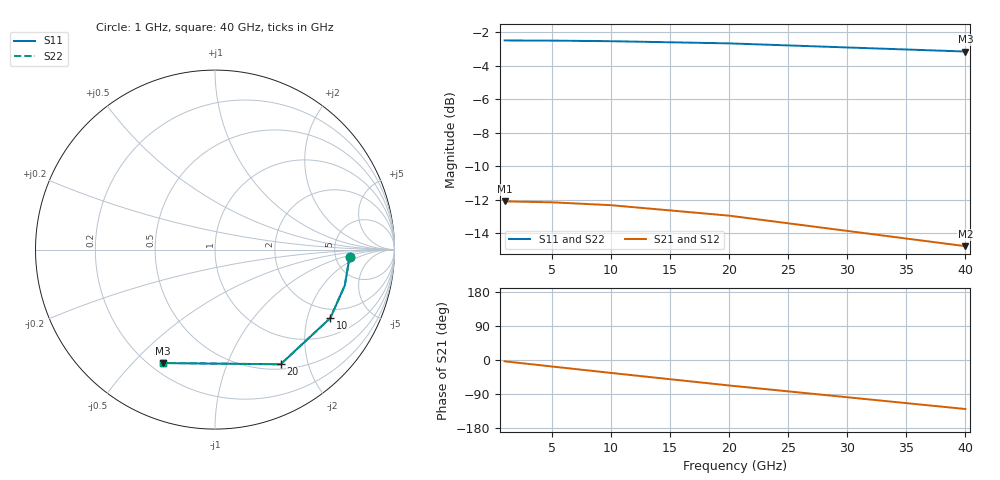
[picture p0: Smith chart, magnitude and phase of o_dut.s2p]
! Generated by circuitRF - EM: openEMS
! circuitRF-EM setup: g_zigzag_sheets
! circuitRF-EM layout: zigzag/layout/zigzag.clay
! circuitRF-EM written: 2026-11-04 17:25:39Z
! circuitRF-EM geometry: 6c0db144714aab11
! circuitRF-EM mesh: ae2856d713d872c0
! circuitRF-EM ports: 8f8a5211b34b08b4
! circuitRF-EM model: openEMS 0.37.0 (v0.37.0, CSXCAD v0.7.0)
! Port[1] = port/1
! Port[2] = port/2
! circuitRF-EM port 1: 'port/1' from 'airbox/zmin' to 'Metal1/1', wave (fed line, voltage and current probes at the reference plane), 50 Ohm
! circuitRF-EM port 2: 'port/2' from 'airbox/zmin' to 'Metal1/2', wave (fed line, voltage and current probes at the reference plane), 50 Ohm
! circuitRF-EM 3D grid: 290 x 57 x 14 = 231420 cells; smallest cell 4.567 um on x, set by 'Metal1/1' edge at x = 320 um; 'Metal1/Resistor/1' edge at x = 320 um; 'Metal1/Resistor/1' edge at x = 340 um; 'Metal1/Resistor/1' edge at x = 460 um; 'Metal1/2' edge at x = 480 um; 'Metal1/Resistor/1' edge at 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
! circuitRF-EM 3D openEMS run port 1: dt 1.10273E-14 s (estimate 1.10732E-14 s), 29715 steps, port signals 55 dB and energy 43.9 dB against 50 dB, stopped by circuitRF on the ports' decay, converged
! circuitRF-EM 3D openEMS run port 2: dt 1.10273E-14 s (estimate 1.10732E-14 s), 29432 steps, port signals 53.4 dB and energy 43.9 dB against 50 dB, stopped by circuitRF on the ports' decay, converged
! circuitRF-EM 3D dielectric loss fitted at: 20.5 GHz
! circuitRF-EM 3D perfect conductors: none
! circuitRF-EM 3D operating temperature: 20 C
! circuitRF-EM 3D DC row: circuitRF conduction solve of the conductors, 472 elements, 0.06 s; ports as terminal pairs
! circuitRF-EM: re-running the EM setup rewrites this file. If circuitRF reports it as stale, the layout's cross-section changed after this file was written.
# GHz S RI R 50
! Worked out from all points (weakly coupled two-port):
!   5 points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, 1 GHz to 40 GHz, reference 50 ohm
!   highest |S21| = -12.10 dB at 1 GHz (marker M1); lowest = -14.8 dB at 40 GHz (marker M2)
!   lowest |S11| = -3.1 dB at 40 GHz (marker M3), VSWR 5.58, Z = 12.5 - j30.6 ohm
!   |S11| at or under -10 dB: nowhere
!   |S22| runs from -3.2 to -2.5 dB; largest |S21 - S12| = 1e-05
!   S11 on the Smith chart (normalised r, x): 1 GHz: 6.79, -1.26; 10 GHz: 1.62, -2.79; 20 GHz: 0.57, -1.58; 40 GHz: 0.25, -0.61
1  0.75 -0.0404  0.2478 -0.0149  0.2478 -0.0149  0.7499 -0.0405
5  0.7231 -0.1994  0.2357 -0.0725  0.2357 -0.0725  0.7231 -0.1996
10  0.6427 -0.3811  0.2003 -0.1355  0.2003 -0.1355  0.6424 -0.3816
20  0.3658 -0.6388  0.0871 -0.2074  0.0871 -0.2074  0.3648 -0.6393
40  -0.2904 -0.6325  -0.1156 -0.141  -0.1156 -0.141  -0.2921 -0.6314
